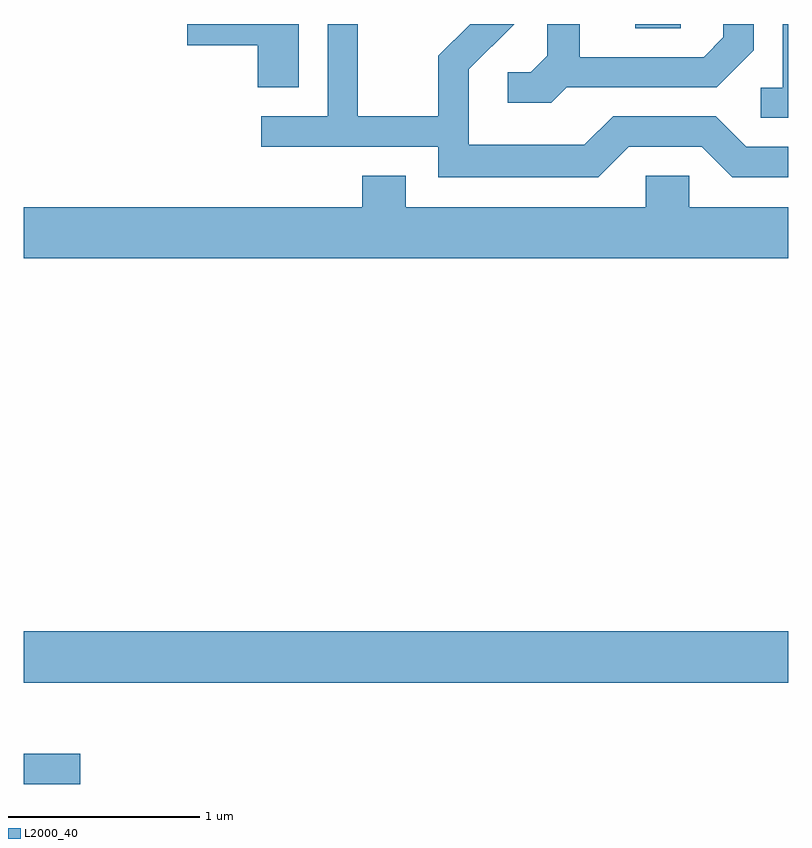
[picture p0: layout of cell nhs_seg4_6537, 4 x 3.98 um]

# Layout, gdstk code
import gdstk
lib = gdstk.Library(unit=1e-6, precision=1e-09)
def R(c, l, rs):  # rectangles x0, y0, x1, y1
    for r in rs: c.add(gdstk.rectangle(r[:2], r[2:], *l))
def P(c, l, *ps):  # polygons
    for p in ps: c.add(gdstk.Polygon(p, *l))
L2000_40 = (2000, 40)

nhs_seg4_6537 = lib.new_cell('nhs_seg4_6537')
R(nhs_seg4_6537, L2000_40, [(377.611,1272.006,377.908,1272.164), (377.611,1272.536,381.611,1272.804), (380.811,1275.961,381.049,1275.982)])
P(nhs_seg4_6537, L2000_40, [(380.777,1275.341),(381.159,1275.341),(381.319,1275.181),(381.611,1275.181),(381.611,1275.339),(381.392,1275.339),(381.232,1275.499),(380.694,1275.499),(380.544,1275.349),(379.939,1275.349),(379.939,1275.744),(380.177,1275.982),(379.946,1275.982),(379.781,1275.817),(379.781,1275.499),(379.359,1275.499),(379.359,1275.982),(379.201,1275.982),(379.201,1275.499),(378.853,1275.499),(378.853,1275.341),(379.781,1275.341),(379.781,1275.181),(380.617,1275.181)],
  [(380.452,1275.651),(381.237,1275.651),(381.429,1275.844),(381.429,1275.982),(381.271,1275.982),(381.271,1275.912),(381.169,1275.809),(380.519,1275.809),(380.519,1275.982),(380.351,1275.982),(380.351,1275.817),(380.264,1275.729),(380.143,1275.729),(380.143,1275.571),(380.372,1275.571)],
  [(381.611,1275.982),(381.581,1275.982),(381.581,1275.649),(381.468,1275.649),(381.468,1275.491),(381.611,1275.491)],
  [(379.049,1275.982),(378.466,1275.982),(378.466,1275.871),(378.836,1275.871),(378.836,1275.651),(379.049,1275.651)],
  [(381.611,1275.024),(381.094,1275.024),(381.094,1275.189),(380.866,1275.189),(380.866,1275.024),(379.609,1275.024),(379.609,1275.189),(379.381,1275.189),(379.381,1275.024),(377.611,1275.024),(377.611,1274.756),(381.611,1274.756)])

lib.write_gds('nhs_seg4_6537.gds')
